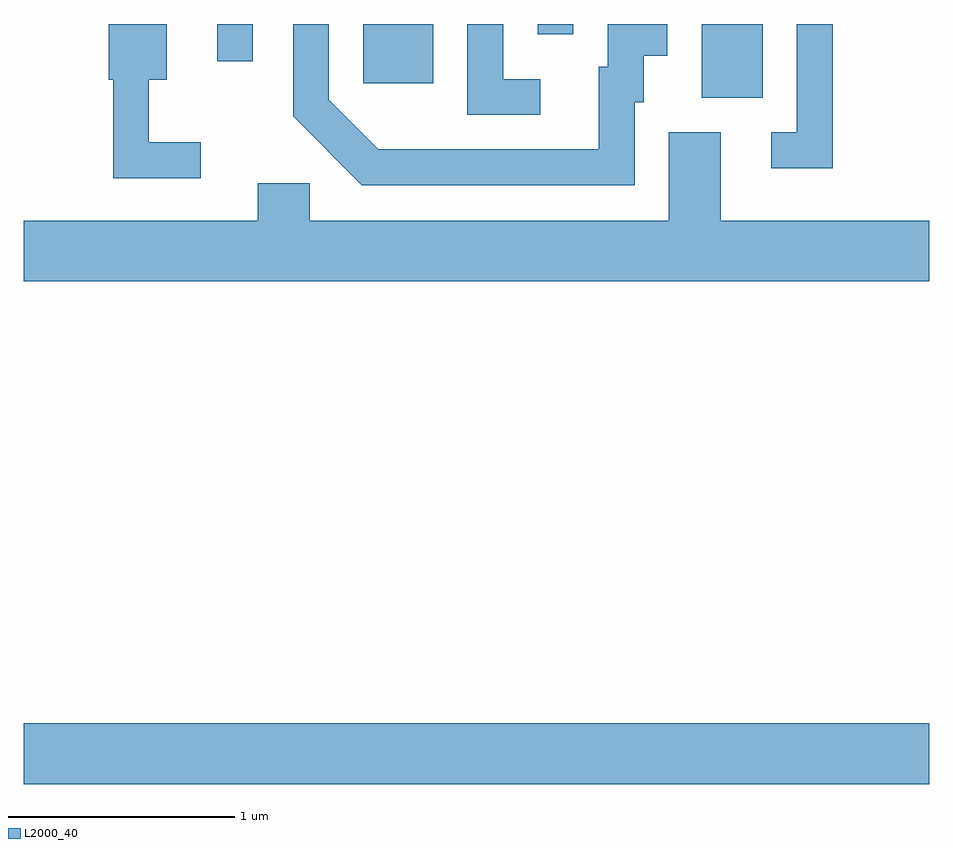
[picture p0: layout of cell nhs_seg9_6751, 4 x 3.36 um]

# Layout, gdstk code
import gdstk
lib = gdstk.Library(unit=1e-6, precision=1e-09)
def R(c, l, rs):  # rectangles x0, y0, x1, y1
    for r in rs: c.add(gdstk.rectangle(r[:2], r[2:], *l))
def P(c, l, *ps):  # polygons
    for p in ps: c.add(gdstk.Polygon(p, *l))
L2000_40 = (2000, 40)

nhs_seg9_6751 = lib.new_cell('nhs_seg9_6751')
R(nhs_seg9_6751, L2000_40, [(383.611,2065.076,387.611,2065.344), (386.606,2068.106,386.874,2068.432), (385.111,2068.171,385.419,2068.432), (384.466,2068.268,384.624,2068.432), (385.881,2068.387,386.039,2068.432)])
P(nhs_seg9_6751, L2000_40, [(386.309,2068.086),(386.349,2068.086),(386.349,2068.291),(386.454,2068.291),(386.454,2068.432),(386.191,2068.432),(386.191,2068.244),(386.151,2068.244),(386.151,2067.879),(385.177,2067.879),(384.959,2068.097),(384.959,2068.432),(384.801,2068.432),(384.801,2068.024),(385.104,2067.721),(386.309,2067.721)],
  [(385.893,2068.189),(385.729,2068.189),(385.729,2068.432),(385.571,2068.432),(385.571,2068.031),(385.893,2068.031)],
  [(387.184,2068.432),(387.026,2068.432),(387.026,2067.954),(386.913,2067.954),(386.913,2067.796),(387.184,2067.796)],
  [(384.393,2067.909),(384.164,2067.909),(384.164,2068.186),(384.244,2068.186),(384.244,2068.432),(383.986,2068.432),(383.986,2068.186),(384.006,2068.186),(384.006,2067.751),(384.393,2067.751)],
  [(387.611,2067.564),(386.689,2067.564),(386.689,2067.954),(386.461,2067.954),(386.461,2067.564),(384.874,2067.564),(384.874,2067.729),(384.646,2067.729),(384.646,2067.564),(383.611,2067.564),(383.611,2067.296),(387.611,2067.296)])

lib.write_gds('nhs_seg9_6751.gds')
